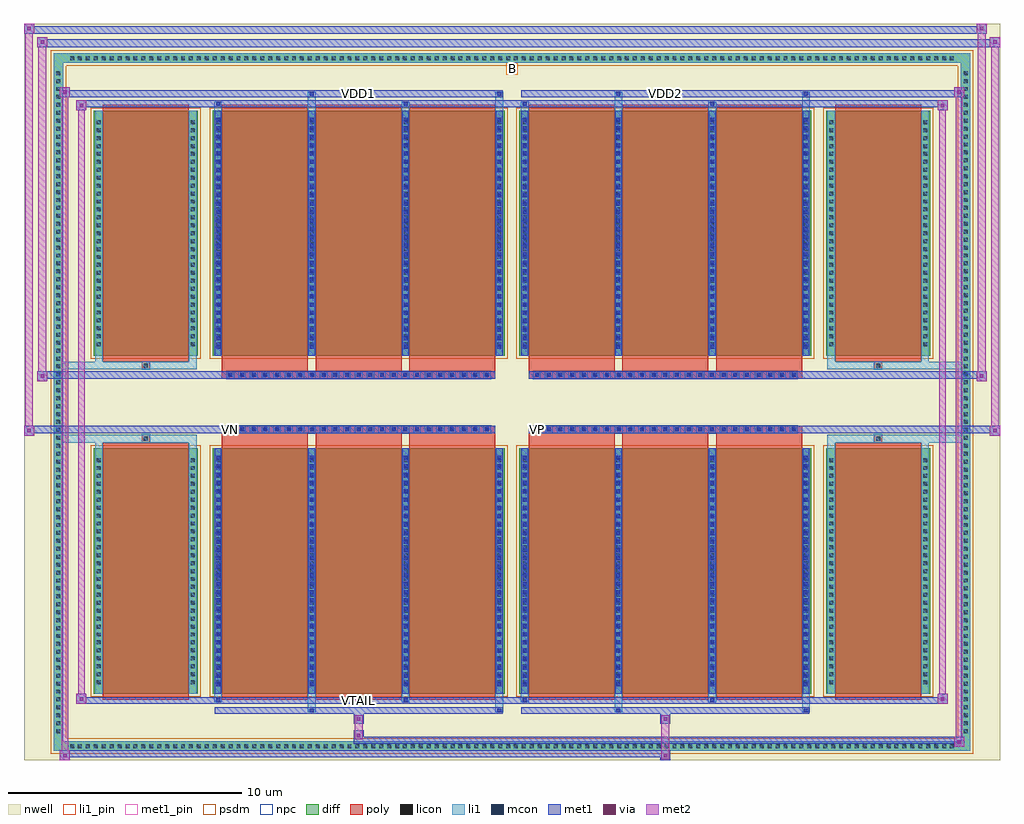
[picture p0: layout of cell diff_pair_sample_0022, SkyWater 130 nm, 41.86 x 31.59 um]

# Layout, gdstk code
import gdstk
lib = gdstk.Library(unit=1e-6, precision=5e-09)
def R(c, l, rs):  # rectangles x0, y0, x1, y1
    for r in rs: c.add(gdstk.rectangle(r[:2], r[2:], *l))
def A(c, l, x, y, w, h, nx, ny, dx, dy):  # array of equal rectangles
    R(c, l, [(x+i*dx, y+j*dy, x+i*dx+w, y+j*dy+h) for i in range(nx) for j in range(ny)])
def P(c, l, *ps):  # polygons
    for p in ps: c.add(gdstk.Polygon(p, *l))
nwell = (64, 20)
diff = (65, 20)
poly = (66, 20)
licon = (66, 44)
li1_pin = (67, 16)
li1 = (67, 20)
mcon = (67, 44)
met1_pin = (68, 16)
met1 = (68, 20)
via = (68, 44)
met2 = (69, 20)
psdm = (94, 20)
npc = (95, 20)

diff_pair_sample_0022 = lib.new_cell('diff_pair_sample_0022')
R(diff_pair_sample_0022, nwell, [(-20.93,-15.36,20.93,16.23), (-18.25,-13.55,-0.01,-0.805), (0.01,-13.55,18.25,-0.805), (-18.25,0.805,-0.01,13.55), (0.01,0.805,18.25,13.55)])
A(diff_pair_sample_0022, diff, -19.075, -14.96, 0.41, 0.41, 112, 2, 0.34, 29.51)
A(diff_pair_sample_0022, diff, -19.66, -14.315, 0.41, 0.41, 1, 84, 0, 0.34)
A(diff_pair_sample_0022, diff, 19.25, -14.315, 0.41, 0.41, 1, 84, 0, 0.34)
R(diff_pair_sample_0022, diff, [(-19.075,-14.96,19.075,-14.55), (-19.66,-14.315,-19.25,14.315), (19.25,-14.315,19.66,14.315), (-17.94,-12.505,-13.47,-1.985), (-12.83,-12.505,-0.32,-1.985), (0.32,-12.505,12.83,-1.985), (13.47,-12.505,17.94,-1.985), (-17.94,1.985,-13.47,12.505), (-12.83,1.985,-0.32,12.505), (0.32,1.985,12.83,12.505), (13.47,1.985,17.94,12.505), (-19.075,14.55,19.075,14.96)])
P(diff_pair_sample_0022, diff, [(19.66,14.96),(-19.66,14.96),(-19.66,-14.55),(-19.25,-14.55),(-19.25,14.55),(19.25,14.55),(19.25,-14.55),(-19.25,-14.55),(-19.66,-14.55),(-19.66,-14.96),(19.66,-14.96)])
A(diff_pair_sample_0022, poly, -12.44, -12.755, 3.69, 11.02, 3, 2, 4.02, 14.49)
A(diff_pair_sample_0022, poly, 0.71, -12.755, 3.69, 11.02, 3, 2, 4.02, 14.49)
A(diff_pair_sample_0022, poly, -12.44, -1.735, 3.69, 0.4, 3, 2, 4.02, 3.07)
A(diff_pair_sample_0022, poly, 0.71, -1.735, 3.69, 0.4, 3, 2, 4.02, 3.07)
A(diff_pair_sample_0022, poly, -12.24, -1.335, 0.33, 0.33, 23, 2, 0.5, 2.34)
A(diff_pair_sample_0022, poly, 0.91, -1.335, 0.33, 0.33, 23, 2, 0.5, 2.34)
R(diff_pair_sample_0022, poly, [(-17.55,-12.755,-13.86,-1.735), (13.86,-12.755,17.55,-1.735), (-15.87,-1.735,-15.54,-1.405), (-15.87,-1.735,-15.54,-1.405), (15.54,-1.735,15.87,-1.405), (15.54,-1.735,15.87,-1.405), (-12.44,-1.335,-0.71,-1.005), (0.71,-1.335,12.44,-1.005), (-12.44,1.005,-0.71,1.335), (0.71,1.005,12.44,1.335), (-15.87,1.405,-15.54,1.735), (-15.87,1.405,-15.54,1.735), (15.54,1.405,15.87,1.735), (15.54,1.405,15.87,1.735), (-17.55,1.735,-13.86,12.755), (13.86,1.735,17.55,12.755)])
A(diff_pair_sample_0022, licon, -18.955, -14.84, 0.17, 0.17, 112, 2, 0.34, 29.51)
A(diff_pair_sample_0022, licon, -19.54, -14.195, 0.17, 0.17, 1, 84, 0, 0.34)
A(diff_pair_sample_0022, licon, 19.37, -14.195, 0.17, 0.17, 1, 84, 0, 0.34)
A(diff_pair_sample_0022, licon, -17.8, -12.09, 0.17, 0.17, 1, 29, 0, 0.34)
A(diff_pair_sample_0022, licon, -13.78, -12.09, 0.17, 0.17, 1, 29, 0, 0.34)
A(diff_pair_sample_0022, licon, -12.69, -12.09, 0.17, 0.17, 4, 29, 4.02, 0.34)
A(diff_pair_sample_0022, licon, 0.46, -12.09, 0.17, 0.17, 4, 29, 4.02, 0.34)
A(diff_pair_sample_0022, licon, 13.61, -12.09, 0.17, 0.17, 1, 29, 0, 0.34)
A(diff_pair_sample_0022, licon, 17.63, -12.09, 0.17, 0.17, 1, 29, 0, 0.34)
A(diff_pair_sample_0022, licon, -12.16, -1.255, 0.17, 0.17, 23, 2, 0.5, 2.34)
A(diff_pair_sample_0022, licon, 0.99, -1.255, 0.17, 0.17, 23, 2, 0.5, 2.34)
A(diff_pair_sample_0022, licon, -17.8, 2.4, 0.17, 0.17, 1, 29, 0, 0.34)
A(diff_pair_sample_0022, licon, -13.78, 2.4, 0.17, 0.17, 1, 29, 0, 0.34)
A(diff_pair_sample_0022, licon, -12.69, 2.4, 0.17, 0.17, 4, 29, 4.02, 0.34)
A(diff_pair_sample_0022, licon, 0.46, 2.4, 0.17, 0.17, 4, 29, 4.02, 0.34)
A(diff_pair_sample_0022, licon, 13.61, 2.4, 0.17, 0.17, 1, 29, 0, 0.34)
A(diff_pair_sample_0022, licon, 17.63, 2.4, 0.17, 0.17, 1, 29, 0, 0.34)
R(diff_pair_sample_0022, licon, [(-15.79,-1.655,-15.62,-1.485), (15.62,-1.655,15.79,-1.485), (-15.79,1.485,-15.62,1.655), (15.62,1.485,15.79,1.655)])
R(diff_pair_sample_0022, li1_pin, [(-0.25,14.05,0.25,14.55)])
A(diff_pair_sample_0022, li1, -19.035, -14.92, 0.33, 0.33, 112, 2, 0.34, 29.51)
A(diff_pair_sample_0022, li1, -19.62, -14.275, 0.33, 0.33, 1, 84, 0, 0.34)
A(diff_pair_sample_0022, li1, 19.29, -14.275, 0.33, 0.33, 1, 84, 0, 0.34)
A(diff_pair_sample_0022, li1, -12.77, -12.505, 0.33, 10.52, 4, 2, 4.02, 14.49)
A(diff_pair_sample_0022, li1, 0.38, -12.505, 0.33, 10.52, 4, 2, 4.02, 14.49)
A(diff_pair_sample_0022, li1, -12.69, -12.19, 0.17, 0.17, 4, 28, 4.02, 0.36)
A(diff_pair_sample_0022, li1, -12.69, -12.19, 0.17, 9.89, 4, 2, 4.02, 14.49)
A(diff_pair_sample_0022, li1, 0.46, -12.19, 0.17, 0.17, 4, 28, 4.02, 0.36)
A(diff_pair_sample_0022, li1, 0.46, -12.19, 0.17, 9.89, 4, 2, 4.02, 14.49)
A(diff_pair_sample_0022, li1, -17.88, -12.17, 0.33, 0.33, 1, 29, 0, 0.34)
A(diff_pair_sample_0022, li1, -13.86, -12.17, 0.33, 0.33, 1, 29, 0, 0.34)
A(diff_pair_sample_0022, li1, -12.77, -12.17, 0.33, 0.33, 4, 29, 4.02, 0.34)
A(diff_pair_sample_0022, li1, 0.38, -12.17, 0.33, 0.33, 4, 29, 4.02, 0.34)
A(diff_pair_sample_0022, li1, 13.53, -12.17, 0.33, 0.33, 1, 29, 0, 0.34)
A(diff_pair_sample_0022, li1, 17.55, -12.17, 0.33, 0.33, 1, 29, 0, 0.34)
A(diff_pair_sample_0022, li1, -12.24, -1.335, 0.33, 0.33, 23, 2, 0.5, 2.34)
A(diff_pair_sample_0022, li1, 0.91, -1.335, 0.33, 0.33, 23, 2, 0.5, 2.34)
A(diff_pair_sample_0022, li1, -12.69, 2.3, 0.17, 0.17, 4, 28, 4.02, 0.36)
A(diff_pair_sample_0022, li1, 0.46, 2.3, 0.17, 0.17, 4, 28, 4.02, 0.36)
A(diff_pair_sample_0022, li1, -17.88, 2.32, 0.33, 0.33, 1, 29, 0, 0.34)
A(diff_pair_sample_0022, li1, -13.86, 2.32, 0.33, 0.33, 1, 29, 0, 0.34)
A(diff_pair_sample_0022, li1, -12.77, 2.32, 0.33, 0.33, 4, 29, 4.02, 0.34)
A(diff_pair_sample_0022, li1, 0.38, 2.32, 0.33, 0.33, 4, 29, 4.02, 0.34)
A(diff_pair_sample_0022, li1, 13.53, 2.32, 0.33, 0.33, 1, 29, 0, 0.34)
A(diff_pair_sample_0022, li1, 17.55, 2.32, 0.33, 0.33, 1, 29, 0, 0.34)
R(diff_pair_sample_0022, li1, [(-19.66,-14.96,-19.25,-14.55), (-19.66,-14.96,-19.25,-14.55), (-19.25,-14.96,19.25,-14.55), (19.25,-14.96,19.66,-14.55), (19.25,-14.96,19.66,-14.55), (-19.66,-14.55,-19.25,14.55), (19.25,-14.55,19.66,14.55), (-8.75,-13.31,-8.42,-12.505), (-8.67,-13.31,-8.5,-13.14), (-0.71,-13.31,-0.38,-12.505), (-0.63,-13.31,-0.46,-13.14), (4.4,-13.31,4.73,-12.505), (4.48,-13.31,4.65,-13.14), (12.44,-13.31,12.77,-12.505), (12.52,-13.31,12.69,-13.14), (-12.77,-12.88,-12.44,-12.505), (-12.69,-12.88,-12.52,-12.71), (-4.73,-12.88,-4.4,-12.505), (-4.65,-12.88,-4.48,-12.71), (0.38,-12.88,0.71,-12.505), (0.46,-12.88,0.63,-12.71), (8.42,-12.88,8.75,-12.505), (8.5,-12.88,8.67,-12.71), (-17.88,-12.505,-17.55,-1.985), (-13.86,-12.505,-13.53,-1.985), (13.53,-12.505,13.86,-1.985), (17.55,-12.505,17.88,-1.985), (-17.88,-1.985,-17.55,-1.405), (-13.86,-1.985,-13.53,-1.405), (13.53,-1.985,13.86,-1.405), (17.55,-1.985,17.88,-1.405), (-19.66,-1.735,-15.87,-1.405), (-17.88,-1.735,-15.87,-1.405), (-15.87,-1.735,-15.54,-1.405), (-15.54,-1.735,-13.53,-1.405), (13.53,-1.735,15.54,-1.405), (15.54,-1.735,15.87,-1.405), (15.54,-1.735,19.66,-1.405), (15.87,-1.735,17.88,-1.405), (-19.66,1.405,-15.87,1.735), (-17.88,1.405,-15.87,1.735), (-17.88,1.405,-17.55,1.985), (-15.87,1.405,-15.54,1.735), (-15.54,1.405,-13.53,1.735), (-13.86,1.405,-13.53,1.985), (13.53,1.405,15.54,1.735), (13.53,1.405,13.86,1.985), (15.54,1.405,15.87,1.735), (15.54,1.405,19.66,1.735), (15.87,1.405,17.88,1.735), (17.55,1.405,17.88,1.985), (-17.88,1.985,-17.55,12.505), (-13.86,1.985,-13.53,12.505), (13.53,1.985,13.86,12.505), (17.55,1.985,17.88,12.505), (-12.77,12.505,-12.44,12.88), (-8.75,12.505,-8.42,13.31), (-4.73,12.505,-4.4,12.88), (-0.71,12.505,-0.38,13.31), (0.38,12.505,0.71,12.88), (4.4,12.505,4.73,13.31), (8.42,12.505,8.75,12.88), (12.44,12.505,12.77,13.31), (-12.69,12.71,-12.52,12.88), (-4.65,12.71,-4.48,12.88), (0.46,12.71,0.63,12.88), (8.5,12.71,8.67,12.88), (-8.67,13.14,-8.5,13.31), (-0.63,13.14,-0.46,13.31), (4.48,13.14,4.65,13.31), (12.52,13.14,12.69,13.31), (-19.66,14.55,-19.25,14.96), (-19.66,14.55,-19.25,14.96), (-19.25,14.55,19.25,14.96), (19.25,14.55,19.66,14.96), (19.25,14.55,19.66,14.96)])
A(diff_pair_sample_0022, mcon, -12.69, -12.19, 0.17, 0.17, 4, 28, 4.02, 0.36)
A(diff_pair_sample_0022, mcon, 0.46, -12.19, 0.17, 0.17, 4, 28, 4.02, 0.36)
A(diff_pair_sample_0022, mcon, -12.16, -1.255, 0.17, 0.17, 23, 2, 0.5, 2.34)
A(diff_pair_sample_0022, mcon, 0.99, -1.255, 0.17, 0.17, 23, 2, 0.5, 2.34)
A(diff_pair_sample_0022, mcon, -12.69, 2.3, 0.17, 0.17, 4, 28, 4.02, 0.36)
A(diff_pair_sample_0022, mcon, 0.46, 2.3, 0.17, 0.17, 4, 28, 4.02, 0.36)
R(diff_pair_sample_0022, mcon, [(-8.67,-13.31,-8.5,-13.14), (-0.63,-13.31,-0.46,-13.14), (4.48,-13.31,4.65,-13.14), (12.52,-13.31,12.69,-13.14), (-12.69,-12.88,-12.52,-12.71), (-4.65,-12.88,-4.48,-12.71), (0.46,-12.88,0.63,-12.71), (8.5,-12.88,8.67,-12.71), (-12.69,12.71,-12.52,12.88), (-4.65,12.71,-4.48,12.88), (0.46,12.71,0.63,12.88), (8.5,12.71,8.67,12.88), (-8.67,13.14,-8.5,13.31), (-0.63,13.14,-0.46,13.31), (4.48,13.14,4.65,13.31), (12.52,13.14,12.69,13.31)])
R(diff_pair_sample_0022, met1_pin, [(-6.71,-12.92,-6.44,-12.65), (-12.21,-1.295,-11.94,-1.025), (0.94,-1.295,1.21,-1.025), (-6.71,13.1,-6.44,13.37), (6.44,13.1,6.71,13.37)])
A(diff_pair_sample_0022, met1, -12.75, -12.505, 0.29, 10.52, 4, 2, 4.02, 14.49)
A(diff_pair_sample_0022, met1, 0.4, -12.505, 0.29, 10.52, 4, 2, 4.02, 14.49)
A(diff_pair_sample_0022, met1, -12.75, -12.25, 0.29, 0.29, 4, 28, 4.02, 0.36)
A(diff_pair_sample_0022, met1, 0.4, -12.25, 0.29, 0.29, 4, 28, 4.02, 0.36)
A(diff_pair_sample_0022, met1, -12.22, -1.315, 0.29, 0.29, 23, 2, 0.5, 2.34)
A(diff_pair_sample_0022, met1, 0.93, -1.315, 0.29, 0.29, 23, 2, 0.5, 2.34)
A(diff_pair_sample_0022, met1, -12.75, 2.24, 0.29, 0.29, 4, 28, 4.02, 0.36)
A(diff_pair_sample_0022, met1, 0.4, 2.24, 0.29, 0.29, 4, 28, 4.02, 0.36)
R(diff_pair_sample_0022, met1, [(-19.39,-15.36,-18.96,-14.93), (6.36,-15.36,6.79,-14.93), (-19.39,-15.22,6.79,-14.93), (18.96,-14.79,19.39,-14.36), (-6.79,-14.65,19.39,-14.36), (-6.79,-14.51,-6.36,-14.08), (-6.79,-13.8,-6.36,-13.37), (6.36,-13.8,6.79,-13.37), (-12.75,-13.37,-0.4,-13.08), (-8.73,-13.37,-8.44,-13.08), (-0.69,-13.37,-0.4,-13.08), (0.4,-13.37,12.75,-13.08), (4.42,-13.37,4.71,-13.08), (12.46,-13.37,12.75,-13.08), (-18.68,-12.94,-18.25,-12.51), (-18.68,-12.94,-12.75,-12.65), (-12.75,-12.94,-12.46,-12.65), (-12.75,-12.94,-0.4,-12.65), (-4.71,-12.94,-4.42,-12.65), (-0.4,-12.94,0.4,-12.65), (0.4,-12.94,0.69,-12.65), (0.4,-12.94,12.75,-12.65), (8.44,-12.94,8.73,-12.65), (12.75,-12.94,18.68,-12.65), (18.25,-12.94,18.68,-12.51), (-20.93,-1.435,-20.5,-1.005), (20.5,-1.435,20.93,-1.005), (-20.93,-1.335,-0.71,-1.005), (-12.44,-1.335,-0.71,-1.005), (0.71,-1.335,12.44,-1.005), (0.71,-1.335,20.93,-1.005), (-20.36,0.905,-19.93,1.335), (19.93,0.905,20.36,1.335), (-20.36,1.005,-12.44,1.335), (-12.44,1.005,-0.71,1.335), (0.71,1.005,12.44,1.335), (12.44,1.005,20.36,1.335), (-18.68,12.51,-18.25,12.94), (18.25,12.51,18.68,12.94), (-18.68,12.65,-12.75,12.94), (-12.75,12.65,-12.46,12.94), (-12.75,12.65,-0.4,12.94), (-4.71,12.65,-4.42,12.94), (-0.4,12.65,0.4,12.94), (0.4,12.65,0.69,12.94), (0.4,12.65,12.75,12.94), (8.44,12.65,8.73,12.94), (12.75,12.65,18.68,12.94), (-19.39,13.08,-18.96,13.51), (-19.39,13.08,-12.75,13.37), (-12.75,13.08,-0.4,13.37), (-8.73,13.08,-8.44,13.37), (-0.69,13.08,-0.4,13.37), (0.4,13.08,12.75,13.37), (4.42,13.08,4.71,13.37), (12.46,13.08,12.75,13.37), (12.75,13.08,19.39,13.37), (18.96,13.08,19.39,13.51), (-20.36,15.23,-19.93,15.66), (-20.36,15.23,-18.25,15.56), (-18.25,15.23,18.25,15.56), (18.25,15.23,20.93,15.56), (20.5,15.23,20.93,15.66), (-20.93,15.8,-20.5,16.23), (-20.93,15.8,-18.25,16.13), (-18.25,15.8,18.25,16.13), (18.25,15.8,20.36,16.13), (19.93,15.8,20.36,16.23)])
R(diff_pair_sample_0022, via, [(-19.25,-15.22,-19.1,-15.07), (6.5,-15.22,6.65,-15.07), (19.1,-14.65,19.25,-14.5), (-6.65,-14.37,-6.5,-14.22), (-6.65,-13.66,-6.5,-13.51), (6.5,-13.66,6.65,-13.51), (-18.54,-12.8,-18.39,-12.65), (18.39,-12.8,18.54,-12.65), (-20.79,-1.295,-20.64,-1.145), (20.64,-1.295,20.79,-1.145), (-20.22,1.045,-20.07,1.195), (20.07,1.045,20.22,1.195), (-18.54,12.65,-18.39,12.8), (18.39,12.65,18.54,12.8), (-19.25,13.22,-19.1,13.37), (19.1,13.22,19.25,13.37), (-20.22,15.37,-20.07,15.52), (20.64,15.37,20.79,15.52), (-20.79,15.94,-20.64,16.09), (20.07,15.94,20.22,16.09)])
R(diff_pair_sample_0022, met2, [(-19.39,-15.36,-18.96,-14.93), (-19.32,-15.36,-19.03,13.51), (-19.03,-15.36,-18.96,-14.93), (-19.34,-15.31,-19.01,-14.98), (6.41,-15.31,6.74,-14.98), (6.41,-14.98,6.74,-13.75), (18.96,-14.79,19.39,-14.36), (19.03,-14.79,19.32,13.51), (19.32,-14.79,19.39,-14.36), (19.01,-14.74,19.34,-14.41), (-6.74,-14.46,-6.41,-14.13), (-6.74,-14.13,-6.41,-13.75), (-6.74,-13.75,-6.41,-13.42), (6.41,-13.75,6.74,-13.42), (-18.68,-12.94,-18.25,-12.51), (-18.61,-12.94,-18.32,12.94), (-18.32,-12.94,-18.25,-12.51), (18.25,-12.94,18.68,-12.51), (18.32,-12.94,18.61,12.94), (18.61,-12.94,18.68,-12.51), (-18.63,-12.89,-18.3,-12.56), (18.3,-12.89,18.63,-12.56), (-20.93,-1.435,-20.5,-1.005), (-20.88,-1.435,-20.55,16.23), (-20.55,-1.435,-20.5,-1.005), (20.5,-1.435,20.93,-1.005), (20.55,-1.435,20.88,15.66), (20.88,-1.435,20.93,-1.005), (-20.88,-1.385,-20.55,-1.055), (20.55,-1.385,20.88,-1.055), (-20.36,0.905,-19.93,1.335), (-20.31,0.905,-19.98,15.66), (-19.98,0.905,-19.93,1.335), (19.93,0.905,20.36,1.335), (19.98,0.905,20.31,16.23), (20.31,0.905,20.36,1.335), (-20.31,0.955,-19.98,1.285), (19.98,0.955,20.31,1.285), (-18.68,12.51,-18.25,12.94), (-18.32,12.51,-18.25,12.94), (18.25,12.51,18.68,12.94), (18.61,12.51,18.68,12.94), (-18.63,12.56,-18.3,12.89), (18.3,12.56,18.63,12.89), (-19.39,13.08,-18.96,13.51), (-19.03,13.08,-18.96,13.51), (18.96,13.08,19.39,13.51), (19.32,13.08,19.39,13.51), (-19.34,13.13,-19.01,13.46), (19.01,13.13,19.34,13.46), (-20.36,15.23,-19.93,15.66), (-19.98,15.23,-19.93,15.66), (20.5,15.23,20.93,15.66), (20.88,15.23,20.93,15.66), (-20.31,15.28,-19.98,15.61), (20.55,15.28,20.88,15.61), (-20.93,15.8,-20.5,16.23), (-20.55,15.8,-20.5,16.23), (19.93,15.8,20.36,16.23), (20.31,15.8,20.36,16.23), (-20.88,15.85,-20.55,16.18), (19.98,15.85,20.31,16.18)])
R(diff_pair_sample_0022, psdm, [(-18.07,-12.635,-13.34,-1.855), (-12.96,-12.635,-0.19,-1.855), (0.19,-12.635,12.96,-1.855), (13.34,-12.635,18.07,-1.855), (-18.07,1.855,-13.34,12.635), (-12.96,1.855,-0.19,12.635), (0.19,1.855,12.96,12.635), (13.34,1.855,18.07,12.635)])
P(diff_pair_sample_0022, psdm, [(19.79,15.09),(-19.79,15.09),(-19.79,-14.42),(-19.12,-14.42),(-19.12,14.42),(19.12,14.42),(19.12,-14.42),(-19.12,-14.42),(-19.79,-14.42),(-19.79,-15.09),(19.79,-15.09)])
A(diff_pair_sample_0022, npc, -12.26, -1.355, 0.37, 0.37, 23, 2, 0.5, 2.34)
A(diff_pair_sample_0022, npc, 0.89, -1.355, 0.37, 0.37, 23, 2, 0.5, 2.34)
R(diff_pair_sample_0022, npc, [(-15.89,-1.755,-15.52,-1.385), (15.52,-1.755,15.89,-1.385), (-12.26,-1.355,-11.39,-0.985), (-12.26,-1.355,-11.39,-0.985), (-11.76,-1.355,-10.89,-0.985), (-11.76,-1.355,-10.89,-0.985), (-11.26,-1.355,-10.39,-0.985), (-11.26,-1.355,-10.39,-0.985), (-10.76,-1.355,-9.89,-0.985), (-10.76,-1.355,-9.89,-0.985), (-10.26,-1.355,-9.39,-0.985), (-10.26,-1.355,-9.39,-0.985), (-9.76,-1.355,-8.89,-0.985), (-9.76,-1.355,-8.89,-0.985), (-9.26,-1.355,-8.39,-0.985), (-9.26,-1.355,-8.39,-0.985), (-8.76,-1.355,-7.89,-0.985), (-8.76,-1.355,-7.89,-0.985), (-8.26,-1.355,-7.39,-0.985), (-8.26,-1.355,-7.39,-0.985), (-7.76,-1.355,-6.89,-0.985), (-7.76,-1.355,-6.89,-0.985), (-7.26,-1.355,-6.39,-0.985), (-7.26,-1.355,-6.39,-0.985), (-6.76,-1.355,-5.89,-0.985), (-6.76,-1.355,-5.89,-0.985), (-6.26,-1.355,-5.39,-0.985), (-6.26,-1.355,-5.39,-0.985), (-5.76,-1.355,-4.89,-0.985), (-5.76,-1.355,-4.89,-0.985), (-5.26,-1.355,-4.39,-0.985), (-5.26,-1.355,-4.39,-0.985), (-4.76,-1.355,-3.89,-0.985), (-4.76,-1.355,-3.89,-0.985), (-4.26,-1.355,-3.39,-0.985), (-4.26,-1.355,-3.39,-0.985), (-3.76,-1.355,-2.89,-0.985), (-3.76,-1.355,-2.89,-0.985), (-3.26,-1.355,-2.39,-0.985), (-3.26,-1.355,-2.39,-0.985), (-2.76,-1.355,-1.89,-0.985), (-2.76,-1.355,-1.89,-0.985), (-2.26,-1.355,-1.39,-0.985), (-2.26,-1.355,-1.39,-0.985), (-1.76,-1.355,-0.89,-0.985), (-1.76,-1.355,-0.89,-0.985), (0.89,-1.355,1.76,-0.985), (0.89,-1.355,1.76,-0.985), (1.39,-1.355,2.26,-0.985), (1.39,-1.355,2.26,-0.985), (1.89,-1.355,2.76,-0.985), (1.89,-1.355,2.76,-0.985), (2.39,-1.355,3.26,-0.985), (2.39,-1.355,3.26,-0.985), (2.89,-1.355,3.76,-0.985), (2.89,-1.355,3.76,-0.985), (3.39,-1.355,4.26,-0.985), (3.39,-1.355,4.26,-0.985), (3.89,-1.355,4.76,-0.985), (3.89,-1.355,4.76,-0.985), (4.39,-1.355,5.26,-0.985), (4.39,-1.355,5.26,-0.985), (4.89,-1.355,5.76,-0.985), (4.89,-1.355,5.76,-0.985), (5.39,-1.355,6.26,-0.985), (5.39,-1.355,6.26,-0.985), (5.89,-1.355,6.76,-0.985), (5.89,-1.355,6.76,-0.985), (6.39,-1.355,7.26,-0.985), (6.39,-1.355,7.26,-0.985), (6.89,-1.355,7.76,-0.985), (6.89,-1.355,7.76,-0.985), (7.39,-1.355,8.26,-0.985), (7.39,-1.355,8.26,-0.985), (7.89,-1.355,8.76,-0.985), (7.89,-1.355,8.76,-0.985), (8.39,-1.355,9.26,-0.985), (8.39,-1.355,9.26,-0.985), (8.89,-1.355,9.76,-0.985), (8.89,-1.355,9.76,-0.985), (9.39,-1.355,10.26,-0.985), (9.39,-1.355,10.26,-0.985), (9.89,-1.355,10.76,-0.985), (9.89,-1.355,10.76,-0.985), (10.39,-1.355,11.26,-0.985), (10.39,-1.355,11.26,-0.985), (10.89,-1.355,11.76,-0.985), (10.89,-1.355,11.76,-0.985), (11.39,-1.355,12.26,-0.985), (11.39,-1.355,12.26,-0.985), (-12.26,0.985,-11.39,1.355), (-12.26,0.985,-11.39,1.355), (-11.76,0.985,-10.89,1.355), (-11.76,0.985,-10.89,1.355), (-11.26,0.985,-10.39,1.355), (-11.26,0.985,-10.39,1.355), (-10.76,0.985,-9.89,1.355), (-10.76,0.985,-9.89,1.355), (-10.26,0.985,-9.39,1.355), (-10.26,0.985,-9.39,1.355), (-9.76,0.985,-8.89,1.355), (-9.76,0.985,-8.89,1.355), (-9.26,0.985,-8.39,1.355), (-9.26,0.985,-8.39,1.355), (-8.76,0.985,-7.89,1.355), (-8.76,0.985,-7.89,1.355), (-8.26,0.985,-7.39,1.355), (-8.26,0.985,-7.39,1.355), (-7.76,0.985,-6.89,1.355), (-7.76,0.985,-6.89,1.355), (-7.26,0.985,-6.39,1.355), (-7.26,0.985,-6.39,1.355), (-6.76,0.985,-5.89,1.355), (-6.76,0.985,-5.89,1.355), (-6.26,0.985,-5.39,1.355), (-6.26,0.985,-5.39,1.355), (-5.76,0.985,-4.89,1.355), (-5.76,0.985,-4.89,1.355), (-5.26,0.985,-4.39,1.355), (-5.26,0.985,-4.39,1.355), (-4.76,0.985,-3.89,1.355), (-4.76,0.985,-3.89,1.355), (-4.26,0.985,-3.39,1.355), (-4.26,0.985,-3.39,1.355), (-3.76,0.985,-2.89,1.355), (-3.76,0.985,-2.89,1.355), (-3.26,0.985,-2.39,1.355), (-3.26,0.985,-2.39,1.355), (-2.76,0.985,-1.89,1.355), (-2.76,0.985,-1.89,1.355), (-2.26,0.985,-1.39,1.355), (-2.26,0.985,-1.39,1.355), (-1.76,0.985,-0.89,1.355), (-1.76,0.985,-0.89,1.355), (0.89,0.985,1.76,1.355), (0.89,0.985,1.76,1.355), (1.39,0.985,2.26,1.355), (1.39,0.985,2.26,1.355), (1.89,0.985,2.76,1.355), (1.89,0.985,2.76,1.355), (2.39,0.985,3.26,1.355), (2.39,0.985,3.26,1.355), (2.89,0.985,3.76,1.355), (2.89,0.985,3.76,1.355), (3.39,0.985,4.26,1.355), (3.39,0.985,4.26,1.355), (3.89,0.985,4.76,1.355), (3.89,0.985,4.76,1.355), (4.39,0.985,5.26,1.355), (4.39,0.985,5.26,1.355), (4.89,0.985,5.76,1.355), (4.89,0.985,5.76,1.355), (5.39,0.985,6.26,1.355), (5.39,0.985,6.26,1.355), (5.89,0.985,6.76,1.355), (5.89,0.985,6.76,1.355), (6.39,0.985,7.26,1.355), (6.39,0.985,7.26,1.355), (6.89,0.985,7.76,1.355), (6.89,0.985,7.76,1.355), (7.39,0.985,8.26,1.355), (7.39,0.985,8.26,1.355), (7.89,0.985,8.76,1.355), (7.89,0.985,8.76,1.355), (8.39,0.985,9.26,1.355), (8.39,0.985,9.26,1.355), (8.89,0.985,9.76,1.355), (8.89,0.985,9.76,1.355), (9.39,0.985,10.26,1.355), (9.39,0.985,10.26,1.355), (9.89,0.985,10.76,1.355), (9.89,0.985,10.76,1.355), (10.39,0.985,11.26,1.355), (10.39,0.985,11.26,1.355), (10.89,0.985,11.76,1.355), (10.89,0.985,11.76,1.355), (11.39,0.985,12.26,1.355), (11.39,0.985,12.26,1.355), (-15.89,1.385,-15.52,1.755), (15.52,1.385,15.89,1.755)])
diff_pair_sample_0022.add(gdstk.Label('VTAIL', (-6.575,-12.785), layer=68, texttype=5))
diff_pair_sample_0022.add(gdstk.Label('VN', (-12.075,-1.16), layer=68, texttype=5))
diff_pair_sample_0022.add(gdstk.Label('VP', (1.075,-1.16), layer=68, texttype=5))
diff_pair_sample_0022.add(gdstk.Label('B', (0,14.3), layer=67, texttype=5))
diff_pair_sample_0022.add(gdstk.Label('VDD2', (6.575,13.235), layer=68, texttype=5))
diff_pair_sample_0022.add(gdstk.Label('VDD1', (-6.575,13.235), layer=68, texttype=5))

lib.write_gds('diff_pair_sample_0022.gds')
